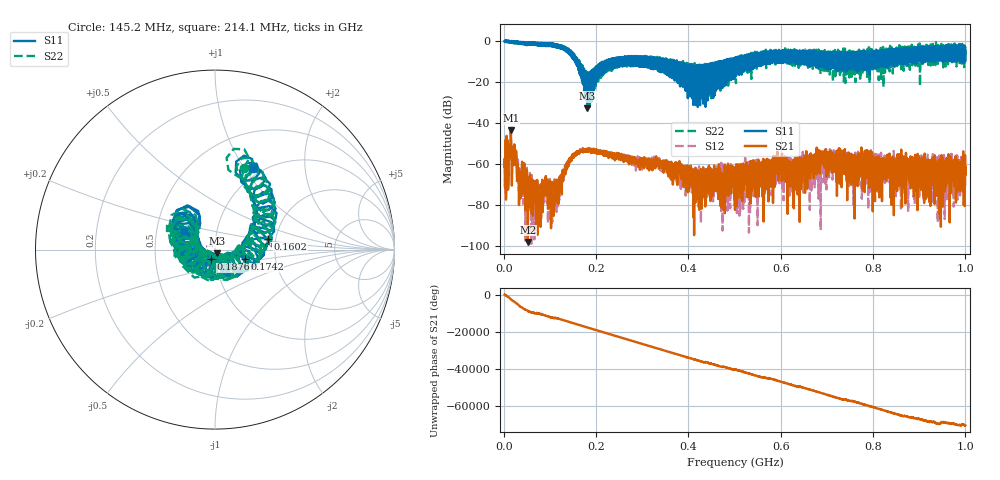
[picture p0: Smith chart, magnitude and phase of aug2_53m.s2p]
!Keysight Technologies N9923A: A.12.45
!Date: Saturday, 02 August 2025 20:07:20
!Timezone: (UTC+08:00) Kuala Lumpur, Singapore
!Model: N9923A
!Serial: MY61181427
!GPS Latitude:
!GPS Longitude:
!GPS TimeStamp: 0001-01-01 00:00:00Z
!GPS Seconds Since Last Read: 0
!CHECKSUM:0288788332
!Correction: S11(ON U)S21(ON U)S12(ON U)S22(ON U)
!S2P File: Measurements:S11,S21,S12,S22:
# Hz S DB R 50
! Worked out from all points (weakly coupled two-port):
!   4001 points, 2 MHz to 1 GHz, reference 50 ohm
!   highest |S21| = -43.56 dB at 15.47 MHz (marker M1); lowest = -97.9 dB at 52.4 MHz (marker M2)
!   lowest |S11| = -32.8 dB at 181.1 MHz (marker M3), VSWR 1.05, Z = 50.9 - j2.15 ohm
!   |S11| at or under -10 dB: 162.4 MHz to 218.5 MHz (56.09 MHz wide, 29.5 % of centre); 366.223 MHz to 367.7184 MHz (1.495 MHz wide, 0.407 % of centre); 369.5 MHz to 471.3 MHz (101.8 MHz wide, 24.2 % of centre) (the widest 3 of 361)
!   |S22| runs from -32.9 to 0.2 dB; largest |S21 - S12| = 0.003
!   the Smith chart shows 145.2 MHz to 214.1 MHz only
!   S11 on the Smith chart (normalised r, x): 145.2 MHz: 0.90, +1.10; 160.2 MHz: 1.82, +0.24; 174.2 MHz: 1.38, -0.15; 187.6 MHz: 0.95, -0.10; 214.1 MHz: 0.69, +0.15
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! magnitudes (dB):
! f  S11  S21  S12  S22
! 2 MHz  -0.1  -61.2  -61.8  -0.1
! 15.47 MHz  -0.5  -43.6  -43.8  -0.5
! 23.46 MHz  -0.2  -51.7  -52.1  -0.2
! 33.44 MHz  -0.5  -71.1  -66.9  -0.5
! 52.4 MHz  -1.5  -97.9  -83.4  -1.2
! 74.6 MHz  -2.3  -78.5  -73.2  -2.0
! 90.57 MHz  -1.2  -70.9  -69.0  -1.0
! 114 MHz  -1.8  -70.6  -77.5  -1.6
! 145.2 MHz  -6.0  -57.3  -56.9  -6.3
! 160.2 MHz  -10.4  -54.3  -53.7  -11.1
! 168.4 MHz  -14.9  -53.3  -54.1  -15.9
! 174.2 MHz  -15.3  -53.1  -53.1  -13.6
! 181.1 MHz  -32.8  -52.9  -52.9  -19.1
! 187.6 MHz  -24.9  -53.3  -52.7  -18.4
! 214.1 MHz  -13.9  -54.6  -54.1  -11.0
! 334.8 MHz  -12.4  -60.7  -61.6  -8.5
! 415.4 MHz  -31.2  -61.7  -63.7  -13.1
! 501 MHz  -11.4  -82.2  -74.7  -12.3
! 667.4 MHz  -5.5  -59.5  -56.5  -9.3
! 833.8 MHz  -5.1  -62.3  -65.8  -4.9
! 991.3 MHz  -10.3  -63.1  -61.5  -3.1
! 1 GHz  -4.9  -61.4  -71.5  -1.7
